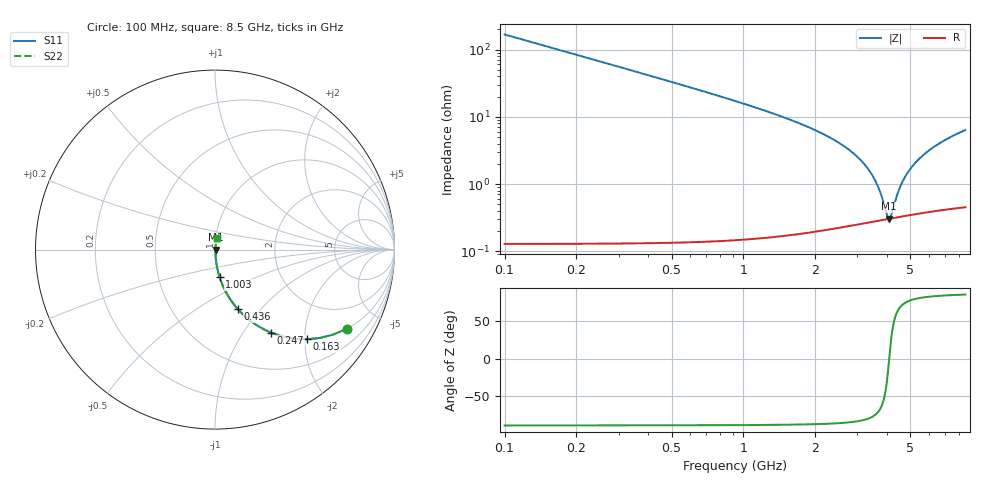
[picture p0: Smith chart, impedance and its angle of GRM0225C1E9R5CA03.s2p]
!Murata Part Number: GRM0225C1E9R5CA03
!These Parameters are Measured in Series Mode Connection
!Data Generated on Mar 30, 2021
!  o--ll--o
!Port1  Port2
!  o------o
!Operation Temp=25[degC], DC Bias Voltage=0[V]
!Freq. Start=100[MHz] Stop=9[GHz] 401[Steps]
# Hz S RI R 50
!Freq.(Hz) S11(Real) S11(Imag) S21(Real) S21(Imag) S12(Real) S12(Imag) S22(Real) S22(Imag)
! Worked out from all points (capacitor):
!   401 points, 100 MHz to 8.5 GHz, reference 50 ohm
!   read as one part in series: C = 9.5 pF near 142 MHz
!   lowest |Z| = 305 mohm at 4.069 GHz (marker M1)
!   series resonance near 4.078 GHz, so ESL is about 160 pH
!   S11 on the Smith chart (normalised r, x): 100 MHz: 1.00, -3.35; 163 MHz: 1.00, -2.05; 247 MHz: 1.00, -1.35; 436 MHz: 1.00, -0.76; 1.003 GHz: 1.00, -0.31; 8.5 GHz: 1.01, +0.13
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1e8  0.7369 -0.4399  0.2631 0.4399  0.2631 0.4399  0.7369 -0.4399
1.63e8  0.5129 -0.4992  0.4871 0.4992  0.4871 0.4992  0.5129 -0.4992
2.47e8  0.3138 -0.4631  0.6862 0.4631  0.6862 0.4631  0.3138 -0.4631
3.31e8  0.2023 -0.4004  0.7977 0.4004  0.7977 0.4004  0.2023 -0.4004
4.36e8  0.1269 -0.3311  0.8731 0.3311  0.8731 0.3311  0.1269 -0.3311
6.46e8  0.0611 -0.2368  0.9389 0.2368  0.9389 0.2368  0.0611 -0.2368
1.003e9  0.0253 -0.1524  0.9747 0.1524  0.9747 0.1524  0.0253 -0.1524
1.507e9  0.0107 -0.0943  0.9893 0.0943  0.9893 0.0943  0.0107 -0.0943
2.914e9  0.00321 -0.0276  0.9968 0.0276  0.9968 0.0276  0.00321 -0.0276
3.271e9  0.00295 -0.0179  0.997 0.0179  0.997 0.0179  0.00295 -0.0179
3.544e9  0.0029 -0.0113  0.9971 0.0113  0.9971 0.0113  0.0029 -0.0113
3.754e9  0.00292 -0.00664  0.9971 0.00664  0.9971 0.00664  0.00292 -0.00664
3.985e9  0.003 -0.00184  0.997 0.00184  0.997 0.00184  0.003 -0.00184
4.069e9  0.00303 -0.000167  0.997 0.000167  0.997 0.000167  0.00303 -0.000167
4.153e9  0.00308 0.00147  0.9969 -0.00147  0.9969 -0.00147  0.00308 0.00147
4.3e9  0.00316 0.00425  0.9968 -0.00425  0.9968 -0.00425  0.00316 0.00425
4.531e9  0.00332 0.00843  0.9967 -0.00843  0.9967 -0.00843  0.00332 0.00843
4.825e9  0.00356 0.0135  0.9964 -0.0135  0.9964 -0.0135  0.00356 0.0135
5.203e9  0.00392 0.0196  0.9961 -0.0196  0.9961 -0.0196  0.00392 0.0196
5.707e9  0.00446 0.0271  0.9955 -0.0271  0.9955 -0.0271  0.00446 0.0271
7.114e9  0.00631 0.0461  0.9937 -0.0461  0.9937 -0.0461  0.00631 0.0461
8.5e9  0.00847 0.0627  0.9915 -0.0627  0.9915 -0.0627  0.00847 0.0627
